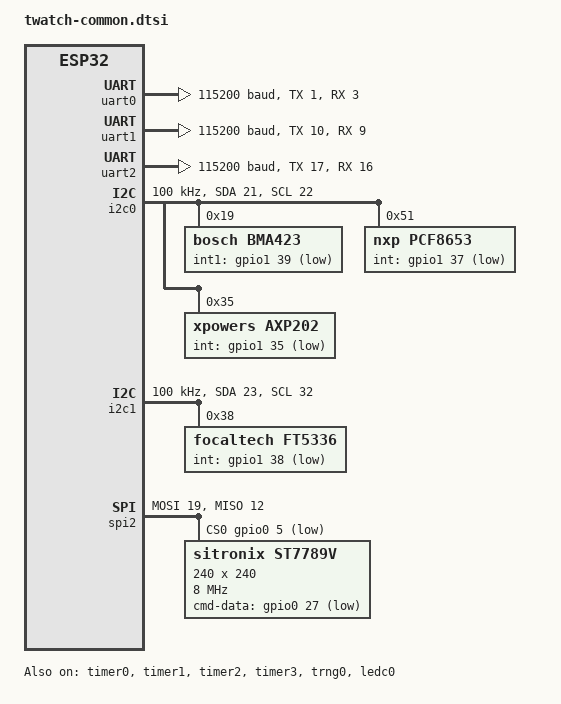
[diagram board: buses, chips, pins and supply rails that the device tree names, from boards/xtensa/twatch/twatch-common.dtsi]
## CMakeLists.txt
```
# SPDX-License-Identifier: Apache-2.0

# Add the board
list(APPEND BOARD_ROOT ${CMAKE_CURRENT_LIST_DIR}/)
#list(APPEND DTS_ROOT ${CMAKE_CURRENT_LIST_DIR}/)

# Add out-off-tree drivers
list(APPEND ZEPHYR_EXTRA_MODULES ${CMAKE_CURRENT_SOURCE_DIR}/drivers/sensor/pcf8653)
list(APPEND ZEPHYR_EXTRA_MODULES ${CMAKE_CURRENT_SOURCE_DIR}/drivers/sensor/bma423)
list(APPEND ZEPHYR_EXTRA_MODULES ${CMAKE_CURRENT_SOURCE_DIR}/drivers/sensor/axp202)

cmake_minimum_required(VERSION 3.13.1)
find_package(Zephyr REQUIRED HINTS $ENV{ZEPHYR_BASE})
project(twatch_v3 VERSION 0.0.1)

zephyr_include_directories(include)

add_subdirectory(src/apps)
add_subdirectory(src/backlight)
add_subdirectory(src/event_service)
add_subdirectory(src/storage)
add_subdirectory(src/vibes)

target_sources(app PRIVATE src/main.c)

execute_process(COMMAND git rev-parse --short HEAD
                WORKING_DIRECTORY ${CMAKE_CURRENT_SOURCE_DIR}
                OUTPUT_VARIABLE PROJECT_GIT_COMMIT_HASH
                RESULT_VARIABLE PROJECT_GIT_COMMIT_HASH_SUCCESS)

message("---------------------------------")
message("    * Version : " ${PROJECT_VERSION_MAJOR}.${PROJECT_VERSION_MINOR}.${PROJECT_VERSION_PATCH})
message("    * GitRef(S) :" ${PROJECT_GIT_COMMIT_HASH})
message("---------------------------------")
```

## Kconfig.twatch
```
menu "twatch"

rsource "drivers/Kconfig"
rsource "bluetooth/Kconfig"

endmenu
```

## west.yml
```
# SPDX-License-Identifier: Apache-2.0

manifest:
  defaults:
    remote: zephyrproject-rtos

  remotes:
    - name: zephyrproject-rtos
      url-base: https://github.com/zephyrproject-rtos

    - name: gitee
      url-base: https://gitee.com/fwatch
  #
  # External projects
  #
  projects:
    - name: hal_espressif
      revision: bcd7565ffa390d5774dc2fbe71a002faa9a7d082
      path: modules/hal/espressif
      west-commands: west/west-commands.yml
      groups:
        - hal

    - name: littlefs
      path: modules/fs/littlefs
      groups:
        - fs
      revision: 7b2cf4ba759bd530b543644e2790b07cf20cd6aa

    - name: lvgl
      revision: a2e17073e5208c221e24e3c2b3b6c473e878bd1e
      path: modules/lib/gui/lvgl

    - name: tinycrypt
      revision: 3e9a49d2672ec01435ffbf0d788db6d95ef28de0
      path: modules/crypto/tinycrypt

    - name: zephyr
      west-commands: scripts/west-commands.yml
      revision: main

  self:
    path: twatch
```

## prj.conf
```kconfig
# SPDX-License-Identifier: Apache-2.0

CONFIG_POSIX_API=y
CONFIG_POSIX_CLOCK=y

CONFIG_LOG=y
CONFIG_SHELL=y
CONFIG_SHELL_PROMPT_UART="twatch:~$ "

CONFIG_SENSOR=y

CONFIG_DISPLAY=y

CONFIG_KSCAN=y

CONFIG_LVGL=y
CONFIG_LV_USE_LOG=y
CONFIG_LV_USE_LABEL=y
CONFIG_LV_USE_BTN=y
CONFIG_LV_USE_LINE=y
CONFIG_LV_FONT_MONTSERRAT_14=y
CONFIG_LV_THEME_DEFAULT_DARK=y

CONFIG_LV_Z_POINTER_KSCAN=y
CONFIG_LV_Z_POINTER_KSCAN_DEV_NAME="FT5336"

CONFIG_BMA423=y
CONFIG_REGULATOR=y
CONFIG_REGULATOR_PMIC=y
CONFIG_REGULATOR_LOG_LEVEL_DBG=y

CONFIG_PWM=y
CONFIG_PWM_LED_ESP32=y

CONFIG_PCF8653=y

CONFIG_AXP202=y

# Flash Driver
CONFIG_FLASH=y
CONFIG_FLASH_PAGE_LAYOUT=y

# Storage
CONFIG_FLASH_MAP=y

# File System
CONFIG_NVS=y
CONFIG_FILE_SYSTEM=y
CONFIG_FILE_SYSTEM_SHELL=y
CONFIG_FILE_SYSTEM_LITTLEFS=y

# BT
CONFIG_BT=y
CONFIG_BT_DEBUG_LOG=y
CONFIG_BT_PERIPHERAL=y
CONFIG_BT_DEVICE_NAME="twatch"
#CONFIG_BT_DEVICE_NAME_DYNAMIC=y
CONFIG_BT_GATT_CLIENT=y
```

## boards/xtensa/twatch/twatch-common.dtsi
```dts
/*
 * Copyright (c) 2022 Qinsong Gou <gouqs@hotmail.com>
 *
 * SPDX-License-Identifier: Apache-2.0
 */

#include <espressif/esp32.dtsi>
#include <dt-bindings/regulator/axp202-i2c.h>

&cpu0 {
	clock-frequency = <ESP32_CLK_CPU_240M>;
};

&cpu1 {
	clock-frequency = <ESP32_CLK_CPU_240M>;
};

&uart0 {
	status = "okay";
	current-speed = <115200>;
	tx-pin = <1>;
	rx-pin = <3>;
};

&uart1 {
	current-speed = <115200>;
	tx-pin = <10>;
	rx-pin = <9>;
};

&uart2 {
	current-speed = <115200>;
	tx-pin = <17>;
	rx-pin = <16>;
};

&gpio0 {
	status = "okay";
};

&gpio1 {
	status = "okay";
};

&i2c0 {
	status = "okay";
	clock-frequency = <I2C_BITRATE_STANDARD>;
	sda-pin = <21>;
	scl-pin = <22>;

	bma423: bma423@19 {
		compatible = "bosch,bma423";
		reg = <0x19>;
		label = "BMA423";
		int1-gpios = <&gpio1 39 GPIO_ACTIVE_LOW>;
	};
	pcf8653: pcf8653@51 {
		compatible = "nxp,pcf8653";
		reg = <0x51>;
		label = "PCF8653";
		int-gpios = <&gpio1 37 GPIO_ACTIVE_LOW>;
	};
	axp202: axp202@35 {
		compatible = "xpowers,axp202";
		reg = <0x35>;
		label = "AXP202";
		int-gpios = <&gpio1 35 GPIO_ACTIVE_LOW>;

		axp202_ldo4: ldo4_reg {
			label = "ldo4_reg";
			compatible = "regulator-pmic";
			voltage-range = <AXP202_LDO4_VOLTAGE_RANGE>;
			num-voltages = <16>;
			vsel-mask = <0x0f>;
			vsel-reg = <0x28>;
			enable-reg = <0x12>;
			enable-mask = <0x08>;
			enable-val = <0x08>;
			min-uV = <1800000>;
			max-uV = <3300000>;
		};

		axp202_ldo2: ldo2_reg {
			label = "ldo2_reg";
			compatible = "regulator-pmic";
			voltage-range = <AXP202_LDO2_VOLTAGE_RANGE>;
			num-voltages = <16>;
			vsel-mask = <0xf0>;
			vsel-reg = <0x28>;
			enable-reg = <0x12>;
			enable-mask = <0x04>;
			enable-val = <0x04>;
			min-uV = <1800000>;
			max-uV = <3300000>;
		};
	};
};

&i2c1 {
	status = "okay";
	clock-frequency = <I2C_BITRATE_STANDARD>;
	sda-pin = <23>;
	scl-pin = <32>;

	ft5336: ft5336@38 {
		compatible = "focaltech,ft5336";
		reg = <0x38>;
		label = "FT5336";
		int-gpios = <&gpio1 38 GPIO_ACTIVE_LOW>;
	};
};

&spi2 {
	#address-cells = <1>;
	#size-cells = <0>;
	status = "okay";
	miso-pin = <12>;
	mosi-pin = <19>;
	sclk-pin = <18>;
	csel-pin = <5>;

	cs-gpios = <&gpio0 5 GPIO_ACTIVE_LOW>;

	st7789v: st7789v@0 {
		compatible = "sitronix,st7789v";
		reg = <0>;
		spi-max-frequency = <8000000>; /* 8MHz */
		label = "ST7789V";
		cmd-data-gpios = <&gpio0 27 GPIO_ACTIVE_LOW>;   /* DET */
		width = <240>;
		height = <240>;
		x-offset = <0>;
		y-offset = <0>;
		vcom = <0x19>;
		gctrl = <0x35>;
		vrhs = <0x12>;
		vdvs = <0x20>;
		mdac = <0x00>;
		gamma = <0x01>;
		colmod = <0x05>;
		lcm = <0x2c>;
		porch-param = [0c 0c 00 33 33];
		cmd2en-param = [5a 69 02 01];
		pwctrl1-param = [a4 a1];
		pvgam-param = [D0 04 0D 11 13 2B 3F 54 4C 18 0D 0B 1F 23];
		nvgam-param = [D0 04 0C 11 13 2C 3F 44 51 2F 1F 1F 20 23];
		ram-param = [00 F0];
		rgb-param = [CD 08 14];
	};
};

&timer0 {
	status = "okay";
};

&timer1 {
	status = "okay";
};

&timer2 {
	status = "okay";
};

&timer3 {
	status = "okay";
};

&trng0 {
	status = "okay";
};

&ledc0 {
	status = "okay";
};

&flash0 {
	status = "okay";
	partitions {
		compatible = "fixed-partitions";
		#address-cells = <1>;
		#size-cells = <1>;

		/* Reserve 60kB for the bootloader */
		boot_partition: partition@1000 {
			label = "mcuboot";
			reg = <0x00001000 0x0000F000>;
			read-only;
		};

		/* Reserve 1024kB for the application in slot 0 */
		slot0_partition: partition@10000 {
			label = "image-0";
			reg = <0x00010000 0x00100000>;
		};

		/* Reserve 1024kB for the application in slot 1 */
		slot1_partition: partition@110000 {
			label = "image-1";
			reg = <0x00110000 0x00100000>;
		};

		/* Reserve 256kB for the scratch partition */
		scratch_partition: partition@210000 {
			   label = "image-scratch";
			   reg = <0x00210000 0x00040000>;
		};

		storage_partition: partition@250000 {
			label = "storage";
			reg = <0x00250000 0x00006000>;
		};

		/* rdb in last 1MB */
		rdb_partition: partition@256000 {
			label = "rdb";
			reg = <0x00256000 0x100000>;
		};
	};
};
```

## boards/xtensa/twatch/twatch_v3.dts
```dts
/*
 * Copyright (c) 2022 Qinsong Gou <gouqs@hotmail.com>
 *
 * SPDX-License-Identifier: Apache-2.0
 */
/dts-v1/;

#include "twatch-common.dtsi"

/ {
	model = "twatch_v3";
	compatible = "ttgo,twatch_v3";

	aliases {
		uart-0 = &uart0;
		i2c-0 = &i2c0;
		kscan0 = &ft5336;
		vibe = &vibe;
	};

	chosen {
		zephyr,sram = &sram0;
		zephyr,console = &uart0;
		zephyr,shell-uart = &uart0;
		zephyr,flash = &flash0;
		zephyr,display = &st7789v;
	};

	vibes {
		compatible = "gpio-keys";
		vibe: vibe {
			gpios = <&gpio0 4 GPIO_ACTIVE_HIGH>;
			label = "vibe";
		};
	};
};
```

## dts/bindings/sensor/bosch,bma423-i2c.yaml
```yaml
# Copyright (c) 2019, Linaro Limited
# SPDX-License-Identifier: Apache-2.0


description:  This is a representation of the BME280 Integrated environmental sensor

compatible: "bosch,bma423"

include: i2c-device.yaml

properties:
            int1-gpios:
                      type: phandle-array
                      required: false
```

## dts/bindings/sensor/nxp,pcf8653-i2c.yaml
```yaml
# Copyright (c) 2022, Qingsong Gou <gouqs@hotmail.com>
# SPDX-License-Identifier: Apache-2.0

description: This is a representation of the pcf8653 RTC IC

compatible: "nxp,pcf8653"

include: i2c-device.yaml

properties:
    int-gpios:
      type: phandle-array
      required: false
      description: |
        The INTn pin signals that a new reading is available. The
        sensor generates an active-low level signal which remains
        asserted until the data is read.
```

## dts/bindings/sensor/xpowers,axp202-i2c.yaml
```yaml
# Copyright (c) 2022, Qingsong Gou <gouqs@hotmail.com>
# SPDX-License-Identifier: Apache-2.0

description: This is a representation of the AXP202 PMIC

compatible: "xpowers,axp202"

include: i2c-device.yaml

properties:
    int-gpios:
      type: phandle-array
      required: false
      description: |
        The INTn pin signals that a new reading is available. The
        sensor generates an active-low level signal which remains
        asserted until the data is read.
```

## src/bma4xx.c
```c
#include <zephyr.h>
#include <device.h>
#include <drivers/i2c.h>
#include <drivers/sensor.h>
#include <logging/log.h>
#include <math.h>

#include "libbma423/bma4.h"
#include "libbma423/bma423.h"
#include "bma423.h"
//#include "../event/event_service.h"

#define BMA4XX_STACK_SIZE   1024
#define BMA4XX_PRIORITY     5

LOG_MODULE_REGISTER(bma4xx, LOG_LEVEL_INF);

#ifdef CONFIG_BMA423_TRIGGER
static void bma421_handler(const struct device *dev,
			   const struct sensor_trigger *trig)
{
    struct sensor_value val[3];

    if (sensor_sample_fetch(dev) < 0) {
        LOG_ERR("sensor_sample_fetch error");
        return;
    }

	if (sensor_channel_get(dev, SENSOR_CHAN_ACCEL_XYZ, val) < 0) {
        LOG_ERR("sensor_channel_get error");
        return;
    }
    LOG_INF("bma421 handler");
}
#endif

static void bma4xx_thread()
{
    struct sensor_value accel_data[3] = { 0 };
    struct sensor_value ori[3] = { 0 };
    double orientation[3] = { 0 };

    const struct device *dev = device_get_binding("BMA423");
    if (dev == NULL) {
        LOG_ERR("could not get BMA421 device");
        return;
    }

    if (IS_ENABLED(CONFIG_BMA423_TRIGGER)) {
        struct sensor_trigger trig = {
            .type = SENSOR_TRIG_DATA_READY,
            .chan = SENSOR_CHAN_ALL,
        };
        if (sensor_trigger_set(dev, &trig, bma421_handler) < 0) {
            LOG_ERR("Cannot configure trigger");
            return;
        }
	struct sensor_trigger single_tap_trig = {
		.type = SENSOR_TRIG_TAP,
		.chan = SENSOR_CHAN_ALL,
	};
	if (sensor_trigger_set(dev, &single_tap_trig, bma421_handler) < 0) {
		LOG_ERR("Cannot configure trigger");
		return;
	}
    }

    while (1) {
/*	    
        if (sensor_sample_fetch(dev) < 0) {
            LOG_ERR("sensor_sample_fetch error");
        }
        if (sensor_channel_get(dev, SENSOR_CHAN_ACCEL_XYZ, accel_data) < 0) {
            LOG_ERR("sensor_channel_get error");
        }
        double x = sensor_value_to_double(&accel_data[0]);
        double y = sensor_value_to_double(&accel_data[1]);
        double z = sensor_value_to_double(&accel_data[2]);
*/

        //msg_send_data(EventServiceCommandGeneric, sizeof(accel_data), accel_data);

        //LOG_INF("sensor_channel_get accel.X %d.%d", accel_data[0].val1, accel_data[0].val2);
        //LOG_INF("sensor_channel_get accel.Y %d.%d", accel_data[1].val1, accel_data[1].val2);
        //LOG_INF("sensor_channel_get accel.Z %d.%d", accel_data[2].val1, accel_data[2].val2);

/*
        orientation[0] = (float) atan2(x, sqrt(y * y + z * z));
        orientation[1] = (float) atan2(y, sqrt(x * x + z * z));
        orientation[2] = (float) atan2(x, sqrt(y * y + x * x));

        sensor_value_from_double(&ori[0], orientation[0]);
        sensor_value_from_double(&ori[1], orientation[1]);
        sensor_value_from_double(&ori[2], orientation[2]);

        int32_t pitch = sensor_rad_to_degrees(&ori[0]);
        int32_t roll  = sensor_rad_to_degrees(&ori[1]);
        int32_t yaw   = sensor_rad_to_degrees(&ori[2]);

        LOG_DBG("pitch %d, roll %d, yaw %d", pitch, roll, yaw);
*/
        k_sleep(K_MSEC(500));
    }
}

K_THREAD_DEFINE(bma4xx_tid, BMA4XX_STACK_SIZE, bma4xx_thread, NULL, NULL, NULL, BMA4XX_PRIORITY, 0, 0);
```
